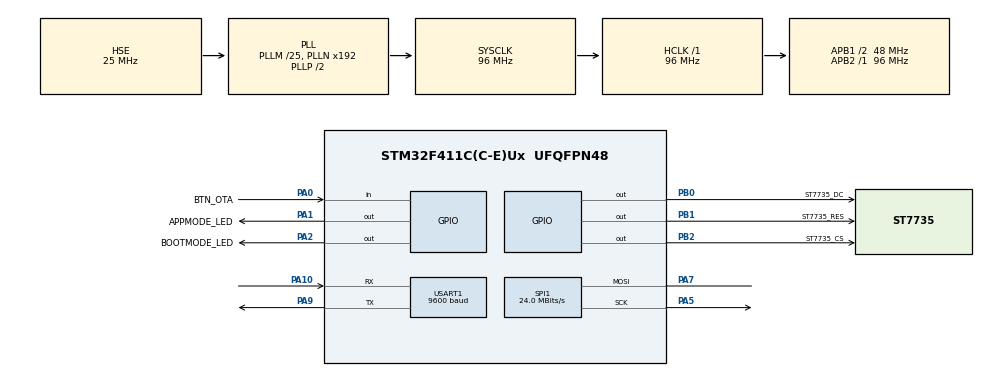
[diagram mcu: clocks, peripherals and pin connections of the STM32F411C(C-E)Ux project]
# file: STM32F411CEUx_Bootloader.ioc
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Mcu.Family=STM32F4
Mcu.Name=STM32F411C(C-E)Ux
Mcu.Package=UFQFPN48
NVIC.PriorityGroup=NVIC_PRIORITYGROUP_4
NVIC.USART1_IRQn=true\:0\:0\:false\:false\:true\:true\:true\:true
PA0-WKUP.GPIO_Label=BTN_OTA
PA0-WKUP.Signal=GPIO_Input
PA1.GPIO_Label=APPMODE_LED
PA1.Signal=GPIO_Output
PA10.Mode=Asynchronous
PA10.Signal=USART1_RX
PA13.Mode=Serial_Wire
PA13.Signal=SYS_JTMS-SWDIO
PA14.Mode=Serial_Wire
PA14.Signal=SYS_JTCK-SWCLK
PA2.GPIO_Label=BOOTMODE_LED
PA2.Signal=GPIO_Output
PA5.Mode=Simplex_Bidirectional_Master
PA5.Signal=SPI1_SCK
PA7.Mode=Simplex_Bidirectional_Master
PA7.Signal=SPI1_MOSI
PA9.Mode=Asynchronous
PA9.Signal=USART1_TX
PB0.GPIO_Label=ST7735_DC
PB0.PinState=GPIO_PIN_SET
PB0.Signal=GPIO_Output
PB1.GPIO_Label=ST7735_RES
PB1.PinState=GPIO_PIN_SET
PB1.Signal=GPIO_Output
PB2.GPIO_Label=ST7735_CS
PB2.PinState=GPIO_PIN_SET
PB2.Signal=GPIO_Output
PC14-OSC32_IN.Mode=LSE-External-Oscillator
PC14-OSC32_IN.Signal=RCC_OSC32_IN
PC15-OSC32_OUT.Mode=LSE-External-Oscillator
PC15-OSC32_OUT.Signal=RCC_OSC32_OUT
PH0\ -\ OSC_IN.Mode=HSE-External-Oscillator
PH0\ -\ OSC_IN.Signal=RCC_OSC_IN
PH1\ -\ OSC_OUT.Mode=HSE-External-Oscillator
PH1\ -\ OSC_OUT.Signal=RCC_OSC_OUT
ProjectManager.HeapSize=0x200
ProjectManager.StackSize=0x400
ProjectManager.TargetToolchain=STM32CubeIDE
RCC.48MHZClocksFreq_Value=48000000
RCC.AHBFreq_Value=96000000
RCC.APB1CLKDivider=RCC_HCLK_DIV2
RCC.APB1Freq_Value=48000000
RCC.APB1TimFreq_Value=96000000
RCC.APB2Freq_Value=96000000
RCC.APB2TimFreq_Value=96000000
RCC.CortexFreq_Value=96000000
RCC.HCLKFreq_Value=96000000
RCC.HSE_VALUE=25000000
RCC.HSI_VALUE=16000000
RCC.PLLM=25
RCC.PLLSourceVirtual=RCC_PLLSOURCE_HSE
RCC.SYSCLKFreq_VALUE=96000000
RCC.SYSCLKSource=RCC_SYSCLKSOURCE_PLLCLK
RCC.VCOOutputFreq_Value=192000000
SPI1.BaudRatePrescaler=SPI_BAUDRATEPRESCALER_4
SPI1.CalculateBaudRate=24.0 MBits/s
SPI1.Direction=SPI_DIRECTION_1LINE
SPI1.Mode=SPI_MODE_MASTER
SPI1.VirtualType=VM_MASTER
USART1.BaudRate=9600
USART1.VirtualMode=VM_ASYNC
board=custom

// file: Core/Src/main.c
/* USER CODE BEGIN Header */
/**
 ******************************************************************************
 * @file           : main.c
 * @brief          : Main program body
 ******************************************************************************
 * @attention
 *
 * Copyright (c) 2024 STMicroelectronics.
 * All rights reserved.
 *
 * This software is licensed under terms that can be found in the LICENSE file
 * in the root directory of this software component.
 * If no LICENSE file comes with this software, it is provided AS-IS.
 *
 ******************************************************************************
 */
/* USER CODE END Header */
#include "main.h"

/* USER CODE BEGIN Includes */
#include "OTA_UART.h"
#include "st7735.h"
#include "fonts.h"
/* USER CODE END Includes */

/* USER CODE BEGIN PD */
/*
Below definitions are made in such a way that the printf instruction can be
used for TRACE or SPI LCD screen for user.
*/
//#define ENABLE_TRACE
#ifdef ENABLE_TRACE
#define DEMCR                 *((volatile uint32_t*) 0xE000EDFCu)

/* ITM register addresses */
#define ITM_STIMULUS_PORT0    *((volatile uint32_t*) 0xE0000000u)
#define ITM_TRACE_EN          *((volatile uint32_t*) 0xE0000E00u)
#endif

#define MAJOR		2		// Major revision
#define MINOR		0		//Minor revision

/* USER CODE END PD */

SPI_HandleTypeDef hspi1;

UART_HandleTypeDef huart1;

/* USER CODE BEGIN PV */
const uint8_t BL_Version[2]={MAJOR,MINOR};
/* USER CODE END PV */

void SystemClock_Config(void);
static void MX_GPIO_Init(void);
static void MX_USART1_UART_Init(void);
static void MX_SPI1_Init(void);
/* USER CODE BEGIN PFP */

/*
Function Prototypes for Bootloader design
This is the main function that waits for communication from PC tool and initiates
flash writes.
*/
ENM_OTA_RET_ ota_begin( void );

/*
This function is used to instruct to go to the application address.
*/
static void goto_application(void);

/* USER CODE END PFP */

int main(void)
{

  /* MCU Configuration--------------------------------------------------------*/

  /* Reset of all peripherals, Initializes the Flash interface and the Systick. */
  HAL_Init();

  /* Configure the system clock */
  SystemClock_Config();

  /* Initialize all configured peripherals */
  MX_GPIO_Init();
  MX_USART1_UART_Init();
  MX_SPI1_Init();
  /* USER CODE BEGIN 2 */
	/* Initialization of ST7735 LCD SCREEN */
	ST7735_Init();
	ST7735_FillScreen(ST7735_COLOUR_BLACK);
	printf("Bootloader:%d.%d\n",BL_Version[0],BL_Version[1]);
	/* Check the GPIO for 3 seconds */
	GPIO_PinState OTA_Pin_state;
	uint32_t end_tick = HAL_GetTick() + 3000;   // from now to 3 Seconds
	printf("PRESS BTN FOR FW UPD\n");
	do
	{
		OTA_Pin_state = HAL_GPIO_ReadPin( BTN_OTA_GPIO_Port, BTN_OTA_Pin);
		uint32_t current_tick = HAL_GetTick();

		/* Check the button is pressed or not for 3seconds */
		if( ( OTA_Pin_state != GPIO_PIN_RESET ) || ( current_tick > end_tick ) )
		{
			/* Either timeout or Button is pressed */
			break;
		}
	}while( 1 );

	/*Start the Firmware or Application update */
	if( OTA_Pin_state == GPIO_PIN_SET )
	{
		printf("ENTERED OTA.\n");

		/* Also indicating overy BOOT LED, incasae LCD screen is not available */
		HAL_GPIO_WritePin(BOOTMODE_LED_GPIO_Port, BOOTMODE_LED_Pin, GPIO_PIN_RESET);
		HAL_Delay(500);
		HAL_GPIO_WritePin(BOOTMODE_LED_GPIO_Port, BOOTMODE_LED_Pin, GPIO_PIN_SET);
		/* OTA Request. Receive the data from the UART4 and flash */
		if(ota_begin() != ENM_OTA_RET_OK)
		{
			/* Error. Don't process. */
			while(1)
			{

			}
		}
		else
		{
			/* Reset to load the new application */
			printf("UPD SUCCESS.REBOOTING\n");
			HAL_Delay(2000);
			HAL_NVIC_SystemReset();
		}
	}

	// Jump to application
	goto_application();
	printf("ENTERING BOOT WHILE!!\n");

  /* USER CODE END 2 */

  /* Infinite loop */
	while (1)
	{

	}
}

void SystemClock_Config(void)
{
  RCC_OscInitTypeDef RCC_OscInitStruct = {0};
  RCC_ClkInitTypeDef RCC_ClkInitStruct = {0};

  /** Configure the main internal regulator output voltage
  */
  __HAL_RCC_PWR_CLK_ENABLE();
  __HAL_PWR_VOLTAGESCALING_CONFIG(PWR_REGULATOR_VOLTAGE_SCALE1);

  /** Initializes the RCC Oscillators according to the specified parameters
  * in the RCC_OscInitTypeDef structure.
  */
  RCC_OscInitStruct.OscillatorType = RCC_OSCILLATORTYPE_HSE;
  RCC_OscInitStruct.HSEState = RCC_HSE_ON;
  RCC_OscInitStruct.PLL.PLLState = RCC_PLL_ON;
  RCC_OscInitStruct.PLL.PLLSource = RCC_PLLSOURCE_HSE;
  RCC_OscInitStruct.PLL.PLLM = 25;
  RCC_OscInitStruct.PLL.PLLN = 192;
  RCC_OscInitStruct.PLL.PLLP = RCC_PLLP_DIV2;
  RCC_OscInitStruct.PLL.PLLQ = 4;
  if (HAL_RCC_OscConfig(&RCC_OscInitStruct) != HAL_OK)
  {
    Error_Handler();
  }

  /** Initializes the CPU, AHB and APB buses clocks
  */
  RCC_ClkInitStruct.ClockType = RCC_CLOCKTYPE_HCLK|RCC_CLOCKTYPE_SYSCLK
                              |RCC_CLOCKTYPE_PCLK1|RCC_CLOCKTYPE_PCLK2;
  RCC_ClkInitStruct.SYSCLKSource = RCC_SYSCLKSOURCE_PLLCLK;
  RCC_ClkInitStruct.AHBCLKDivider = RCC_SYSCLK_DIV1;
  RCC_ClkInitStruct.APB1CLKDivider = RCC_HCLK_DIV2;
  RCC_ClkInitStruct.APB2CLKDivider = RCC_HCLK_DIV1;

  if (HAL_RCC_ClockConfig(&RCC_ClkInitStruct, FLASH_LATENCY_3) != HAL_OK)
  {
    Error_Handler();
  }
}

static void MX_SPI1_Init(void)
{

  /* SPI1 parameter configuration*/
  hspi1.Instance = SPI1;
  hspi1.Init.Mode = SPI_MODE_MASTER;
  hspi1.Init.Direction = SPI_DIRECTION_1LINE;
  hspi1.Init.DataSize = SPI_DATASIZE_8BIT;
  hspi1.Init.CLKPolarity = SPI_POLARITY_LOW;
  hspi1.Init.CLKPhase = SPI_PHASE_1EDGE;
  hspi1.Init.NSS = SPI_NSS_SOFT;
  hspi1.Init.BaudRatePrescaler = SPI_BAUDRATEPRESCALER_4;
  hspi1.Init.FirstBit = SPI_FIRSTBIT_MSB;
  hspi1.Init.TIMode = SPI_TIMODE_DISABLE;
  hspi1.Init.CRCCalculation = SPI_CRCCALCULATION_DISABLE;
  hspi1.Init.CRCPolynomial = 10;
  if (HAL_SPI_Init(&hspi1) != HAL_OK)
  {
    Error_Handler();
  }

}

static void MX_USART1_UART_Init(void)
{

  huart1.Instance = USART1;
  huart1.Init.BaudRate = 9600;
  huart1.Init.WordLength = UART_WORDLENGTH_8B;
  huart1.Init.StopBits = UART_STOPBITS_1;
  huart1.Init.Parity = UART_PARITY_NONE;
  huart1.Init.Mode = UART_MODE_TX_RX;
  huart1.Init.HwFlowCtl = UART_HWCONTROL_NONE;
  huart1.Init.OverSampling = UART_OVERSAMPLING_16;
  if (HAL_UART_Init(&huart1) != HAL_OK)
  {
    Error_Handler();
  }

}

static void MX_GPIO_Init(void)
{
  GPIO_InitTypeDef GPIO_InitStruct = {0};

  /* GPIO Ports Clock Enable */
  __HAL_RCC_GPIOC_CLK_ENABLE();
  __HAL_RCC_GPIOH_CLK_ENABLE();
  __HAL_RCC_GPIOA_CLK_ENABLE();
  __HAL_RCC_GPIOB_CLK_ENABLE();

  /*Configure GPIO pin Output Level */
  HAL_GPIO_WritePin(GPIOA, APPMODE_LED_Pin|BOOTMODE_LED_Pin, GPIO_PIN_RESET);

  /*Configure GPIO pin Output Level */
  HAL_GPIO_WritePin(GPIOB, ST7735_DC_Pin|ST7735_RES_Pin|ST7735_CS_Pin, GPIO_PIN_SET);

  /*Configure GPIO pin : BTN_OTA_Pin */
  GPIO_InitStruct.Pin = BTN_OTA_Pin;
  GPIO_InitStruct.Mode = GPIO_MODE_INPUT;
  GPIO_InitStruct.Pull = GPIO_NOPULL;
  HAL_GPIO_Init(BTN_OTA_GPIO_Port, &GPIO_InitStruct);

  /*Configure GPIO pins : APPMODE_LED_Pin BOOTMODE_LED_Pin */
  GPIO_InitStruct.Pin = APPMODE_LED_Pin|BOOTMODE_LED_Pin;
  GPIO_InitStruct.Mode = GPIO_MODE_OUTPUT_PP;
  GPIO_InitStruct.Pull = GPIO_NOPULL;
  GPIO_InitStruct.Speed = GPIO_SPEED_FREQ_LOW;
  HAL_GPIO_Init(GPIOA, &GPIO_InitStruct);

  /*Configure GPIO pins : ST7735_DC_Pin ST7735_RES_Pin ST7735_CS_Pin */
  GPIO_InitStruct.Pin = ST7735_DC_Pin|ST7735_RES_Pin|ST7735_CS_Pin;
  GPIO_InitStruct.Mode = GPIO_MODE_OUTPUT_PP;
  GPIO_InitStruct.Pull = GPIO_NOPULL;
  GPIO_InitStruct.Speed = GPIO_SPEED_FREQ_LOW;
  HAL_GPIO_Init(GPIOB, &GPIO_InitStruct);

}

/* USER CODE BEGIN 4 */
/**
  * @brief Jump to application from the Bootloader
  * @retval None
  */
static void goto_application(void)
{
	printf("ENTERING APPLICATION\n");

	//Defining the Address of RESET HANDLER of application.

  void (*app_reset_handler)(void) = (void*)(*((volatile uint32_t*) (OTA_APP_FLASH_ADDR + 4U)));

  // Turn OFF the Green Led to tell the user that Bootloader is not running
  HAL_GPIO_WritePin(GPIOB, GPIO_PIN_0, GPIO_PIN_RESET );    //Green LED OFF

  /* De Initializing all the peripherals and clocks before switching*/
  HAL_RCC_DeInit();
  HAL_DeInit();
  HAL_UART_DeInit(&huart1);
  HAL_SPI_DeInit(&hspi1);

  // Set Stack pointer
  __set_MSP(*(volatile uint32_t*) OTA_APP_FLASH_ADDR);

  // clear SysTick timer
  SysTick->CTRL = 0;
  SysTick->LOAD = 0;
  SysTick->VAL = 0;

  // Set Interrupt Vector OFFSET
  SCB->VTOR = FLASH_BASE | OTA_APP_FLASH_ADDR;
  /* Jump to application */
  app_reset_handler();    //call the app reset handler
}

#ifdef ENABLE_TRACE
/* Override low-level _write system call */
int _write(int file, char *ptr, int len)
{
	int DataIdx;
	for (DataIdx = 0; DataIdx < len; DataIdx++)
	{
		ITM_SendChar(*ptr++);
	}
	return len;
}
#else

int _write(int file, char *ptr, int len)
{
	ST7735_WriteDebugString(ptr);

	return len;
}
#endif

/* USER CODE END 4 */

void Error_Handler(void)
{
	__disable_irq();
	while (1)
	{
	}
}
